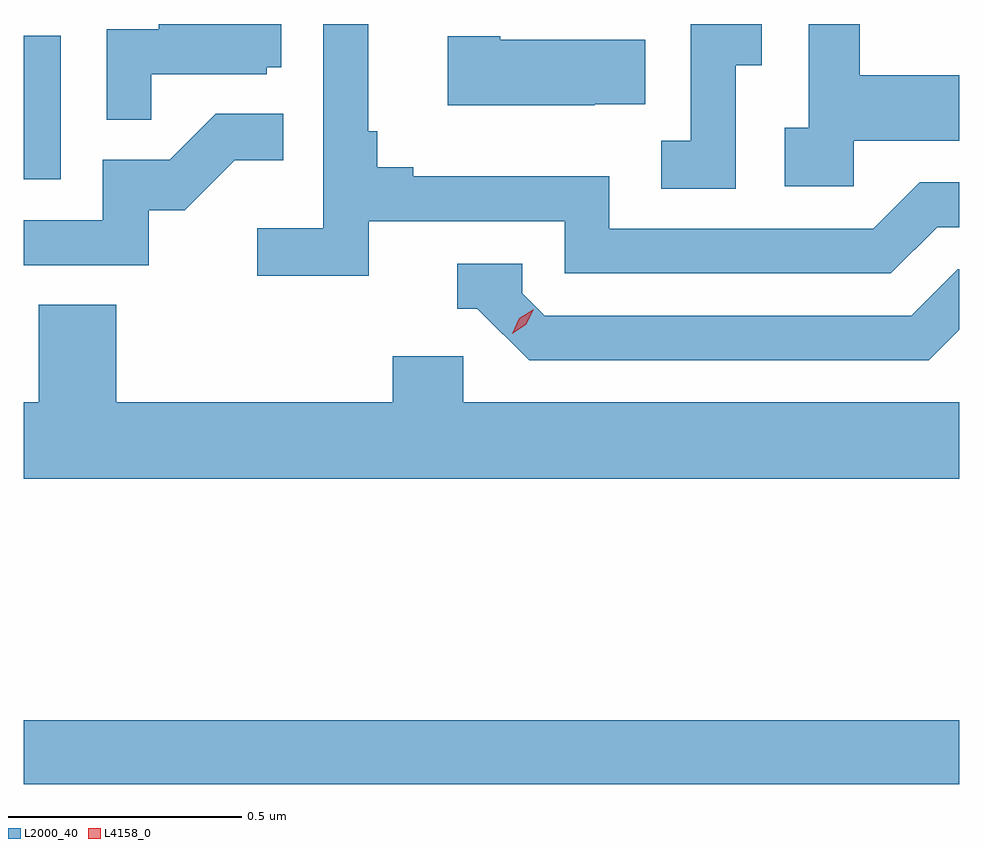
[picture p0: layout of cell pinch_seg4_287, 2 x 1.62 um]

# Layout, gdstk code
import gdstk
lib = gdstk.Library(unit=1e-6, precision=1e-09)
def R(c, l, rs):  # rectangles x0, y0, x1, y1
    for r in rs: c.add(gdstk.rectangle(r[:2], r[2:], *l))
def P(c, l, *ps):  # polygons
    for p in ps: c.add(gdstk.Polygon(p, *l))
L2000_40 = (2000, 40)
L4158_0 = (4158, 0)

pinch_seg4_287 = lib.new_cell('pinch_seg4_287')
R(pinch_seg4_287, L2000_40, [(933.302,806.824,935.302,806.96), (933.302,808.116,933.382,808.423)])
P(pinch_seg4_287, L2000_40, [(933.575,808.341),(933.822,808.341),(933.822,808.356),(933.853,808.356),(933.853,808.448),(933.591,808.448),(933.591,808.437),(933.48,808.437),(933.48,808.243),(933.575,808.243)],
  [(934.824,808.36),(934.879,808.36),(934.879,808.448),(934.728,808.448),(934.728,808.199),(934.665,808.199),(934.665,808.096),(934.824,808.096)],
  [(934.04,808.026),(934.458,808.026),(934.458,807.915),(935.155,807.915),(935.254,808.014),(935.302,808.014),(935.302,808.11),(935.217,808.11),(935.118,808.011),(934.554,808.011),(934.554,808.123),(934.135,808.123),(934.135,808.142),(934.058,808.142),(934.058,808.219),(934.039,808.219),(934.039,808.448),(933.942,808.448),(933.942,808.012),(933.801,808.012),(933.801,807.91),(934.04,807.91)],
  [(935.076,808.199),(935.302,808.199),(935.302,808.339),(935.089,808.339),(935.089,808.448),(934.98,808.448),(934.98,808.226),(934.929,808.226),(934.929,808.101),(935.076,808.101)],
  [(934.523,808.277),(934.631,808.277),(934.631,808.414),(934.321,808.414),(934.321,808.422),(934.209,808.422),(934.209,808.274),(934.523,808.274)],
  [(933.57,808.05),(933.646,808.05),(933.753,808.157),(933.857,808.157),(933.857,808.256),(933.713,808.256),(933.615,808.158),(933.471,808.158),(933.471,808.029),(933.302,808.029),(933.302,807.933),(933.57,807.933)],
  [(935.302,807.795),(935.302,807.924),(935.298,807.924),(935.199,807.825),(934.416,807.825),(934.368,807.873),(934.368,807.936),(934.229,807.936),(934.229,807.84),(934.272,807.84),(934.383,807.729),(935.236,807.729)],
  [(935.302,807.64),(934.242,807.64),(934.242,807.738),(934.091,807.738),(934.091,807.64),(933.5,807.64),(933.5,807.848),(933.335,807.848),(933.335,807.64),(933.302,807.64),(933.302,807.476),(935.302,807.476)])
P(pinch_seg4_287, L4158_0, [(934.346,807.786),(934.346,807.786),(934.361,807.819),(934.392,807.839),(934.392,807.839),(934.392,807.839),(934.376,807.806),(934.346,807.786)])

lib.write_gds('pinch_seg4_287.gds')
